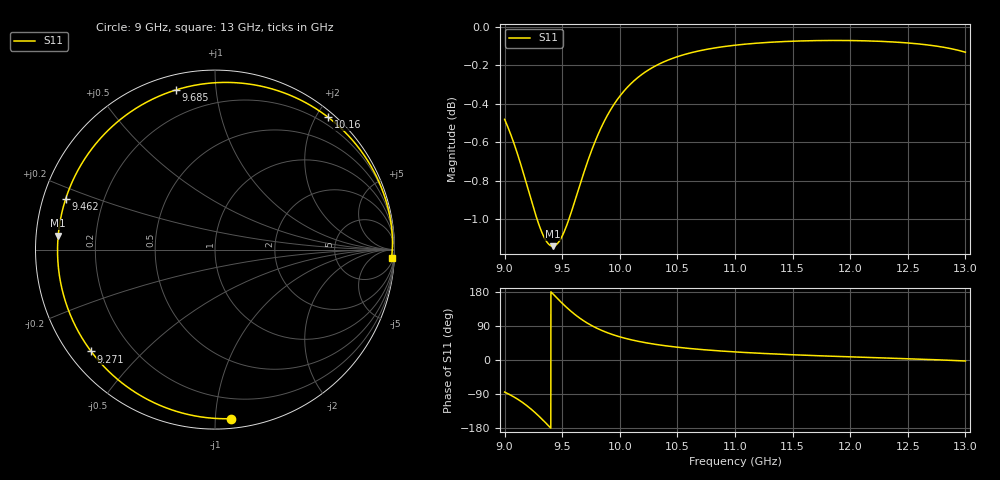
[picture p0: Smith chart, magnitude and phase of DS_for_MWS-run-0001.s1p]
! TOUCHSTONE file generated by CST DESIGN STUDIO
! Date and time: Tue Feb  4 16:07:09 2025
! Project name: C:\Work\MatlabApps\UnitCellOptimizationMatlab\CST\unitcell.cst
! Tree item: Tasks\Sweep1\SPara1\S-Parameters
! Header version: 2024
! Port assignment regex: !\s*Touchstone port\s*([0-9]+)\s*=\s*(CST MWS port|CST DES external port|CST DES block port)\s*(.+)\s* \(\"(.*)\"\)(\s*mode\s*([0-9]+))?.*
! Touchstone port assignment:
! Touchstone port 1 = CST DES external port 1 ("")
# GHz S MA R 50
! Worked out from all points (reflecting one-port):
!   4001 points, 9 GHz to 13 GHz, reference 50 ohm
!   lowest |S11| = -1.1 dB at 9.418 GHz (marker M1), VSWR 15.27, Z = 3.28 + j2.22 ohm
!   phase of S11 starts at -85 deg and turns -278 deg over the sweep
!   S11 on the Smith chart (normalised r, x): 9 GHz: 0.06, -1.10; 9.271 GHz: 0.06, -0.36; 9.462 GHz: 0.07, +0.16; 9.685 GHz: 0.07, +0.78; 10.16 GHz: 0.09, +2.17; 13 GHz: 13, -40
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9  0.9461 -84.6
9.08  0.9328 -97.3
9.148  0.9194 -110.5
9.21  0.906 -124.6
9.271  0.8933 -140.6
9.311  0.8862 -152.1
9.348  0.8811 -163.2
9.383  0.8781 -174.1
9.418  0.8771 174.9
9.462  0.8787 161.2
9.5  0.8824 149.7
9.546  0.8892 136.6
9.591  0.8974 124.8
9.637  0.9064 113.9
9.685  0.9159 103.7
9.755  0.9286 91.0
9.838  0.9414 78.7
9.916  0.9511 69.4
10  0.9593 61.1
10.157  0.97 49.5
10.313  0.9769 41.1
10.5  0.9822 33.7
10.723  0.9861 27.3
11  0.9889 21.3
11.5  0.9913 13.9
12  0.9917 8.3
12.5  0.9903 3.3
13  0.9848 -2.6
